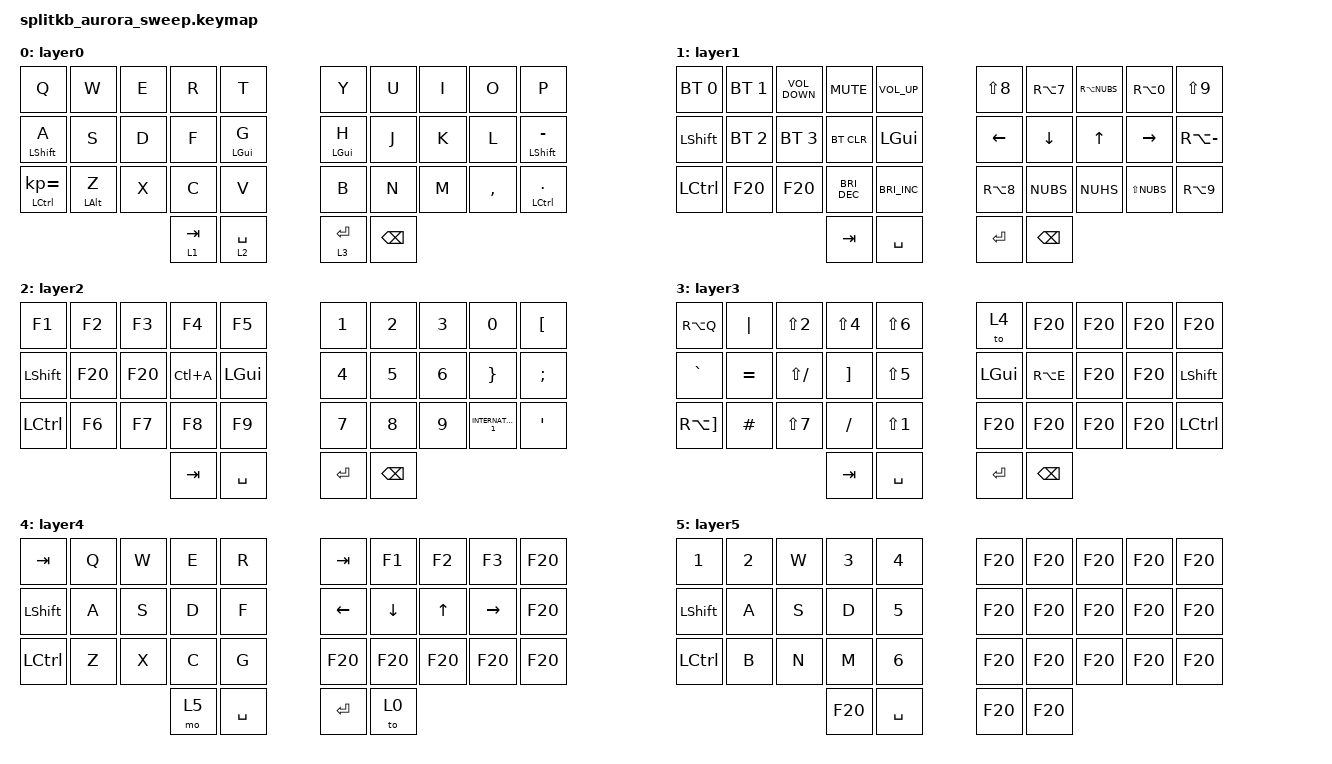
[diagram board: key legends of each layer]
/*
 * Copyright (c) 2022 The ZMK Contributors
 *
 * SPDX-License-Identifier: MIT
 */

#include <behaviors.dtsi>
#include <dt-bindings/zmk/bt.h>
#include <dt-bindings/zmk/keys.h>

&mt {
    tapping-term-ms = <200>;
    flavor = "balanced";
};

/ {

    combos {
        compatible = "zmk,combos";

        combo_esc {
            timeout-ms = <50>;
            key-positions = <4 5>;
            bindings = <&kp ESC>;
        };

        combo_save {
            timeout-ms = <50>;
            key-positions = <14 15>;
            bindings = <&vim_save>;
        };

        combo_save_all {
            timeout-ms = <50>;
            key-positions = <24 25>;
            bindings = <&vim_save_all>;
        };
    };

    macros {
        vim_save: vim_save {
            compatible = "zmk,behavior-macro";
            label = "VIM_SAVE";
            #binding-cells = <0>;
            bindings = <&macro_tap &kp LS(DOT) &kp W &kp ENTER>;
        };
        vim_save_all: vim_save_all {
            compatible = "zmk,behavior-macro";
            label = "VIM_SAVE_ALL";
            #binding-cells = <0>;
            bindings = <&macro_tap &kp LS(DOT) &kp W &kp A &kp ENTER>;
        };
    };

    keymap {
        compatible = "zmk,keymap";

        layer0 {
            bindings = <
                    &kp Q  &kp W  &kp E      &kp R           &kp T             &kp Y          &kp U  &kp I      &kp O                 &kp P
         &mt LEFT_SHIFT A  &kp S  &kp D      &kp F  &mt LEFT_GUI G    &mt LEFT_GUI H          &kp J  &kp K      &kp L  &mt LEFT_SHIFT MINUS
&mt LEFT_CONTROL KP_EQUAL  &mt LEFT_ALT Z  &kp X      &kp C           &kp V             &kp B          &kp N  &kp M  &kp COMMA  &mt LEFT_CONTROL DOT
                                         &lt 1 TAB     &lt 2 SPACE       &lt 3 ENTER  &kp BACKSPACE
            >;
        };

        layer1 {
            bindings = <
           &bt BT_SEL 0		&bt BT_SEL 1  &kp C_VOLUME_DOWN            &kp C_MUTE       &kp C_VOLUME_UP    &kp LS(N8)     &kp RA(N7)  &kp RA(NUBS)    &kp RA(N0)       &kp LS(N9)
  &kp LEFT_SHIFT  &bt BT_SEL 2            &bt BT_SEL 3               &bt BT_CLR          &kp LEFT_GUI        &kp LEFT       &kp DOWN        &kp UP     &kp RIGHT  &kp RA(MINUS)
&kp LEFT_CONTROL  &kp F20            &kp F20  &kp C_BRIGHTNESS_DEC  &kp C_BRIGHTNESS_INC      &kp RA(N8)       &kp NUBS      &kp NUHS  &kp LS(NUBS)     &kp RA(N9)
                                                           &kp TAB             &kp SPACE       &kp ENTER  &kp BACKSPACE
            >;
        };

        layer2 {
            bindings = <
          &kp F1   &kp F2   &kp F3     &kp F4        &kp F5       &kp N1         &kp N2  &kp N3               &kp N0       &kp LBKT
  &kp LEFT_SHIFT  &kp F20  &kp F20  &kp LC(A)  &kp LEFT_GUI       &kp N4         &kp N5  &kp N6             &kp RBRC  &kp SEMICOLON
&kp LEFT_CONTROL   &kp F6   &kp F7     &kp F8        &kp F9       &kp N7         &kp N8  &kp N9  &kp INTERNATIONAL_1        &kp SQT
                                      &kp TAB     &kp SPACE    &kp ENTER  &kp BACKSPACE
            >;
        };

        layer3 {
            bindings = <
   &kp RA(Q)   &kp PIPE     &kp LS(N2)  &kp LS(N4)  &kp LS(N6)           &to 4        &kp F20  &kp F20  &kp F20           &kp F20
   &kp GRAVE  &kp EQUAL  &kp LS(SLASH)    &kp RBKT  &kp LS(N5)    &kp LEFT_GUI        &kp RA(E)  &kp F20  &kp F20    &kp LEFT_SHIFT
&kp RA(RBKT)   &kp HASH     &kp LS(N7)   &kp SLASH  &kp LS(N1)         &kp F20        &kp F20  &kp F20  &kp F20  &kp LEFT_CONTROL
                                           &kp TAB   &kp SPACE       &kp ENTER  &kp BACKSPACE
            >;
        };

        layer4 {
            bindings = <
         &kp TAB  &kp Q  &kp W  &kp E      &kp R      &kp TAB    &kp F1   &kp F2     &kp F3  &kp F20
  &kp LEFT_SHIFT  &kp A  &kp S  &kp D      &kp F     &kp LEFT  &kp DOWN   &kp UP  &kp RIGHT  &kp F20
&kp LEFT_CONTROL  &kp Z  &kp X  &kp C      &kp G      &kp F20   &kp F20  &kp F20    &kp F20  &kp F20
                                &mo 5  &kp SPACE    &kp ENTER     &to 0
            >;
        };

        layer5 {
            bindings = <
          &kp N1  &kp N2  &kp W   &kp N3     &kp N4    &kp F20  &kp F20  &kp F20  &kp F20  &kp F20
  &kp LEFT_SHIFT   &kp A  &kp S    &kp D     &kp N5    &kp F20  &kp F20  &kp F20  &kp F20  &kp F20
&kp LEFT_CONTROL   &kp B  &kp N    &kp M     &kp N6    &kp F20  &kp F20  &kp F20  &kp F20  &kp F20
                                 &kp F20  &kp SPACE    &kp F20  &kp F20
            >;
        };
    };
};
